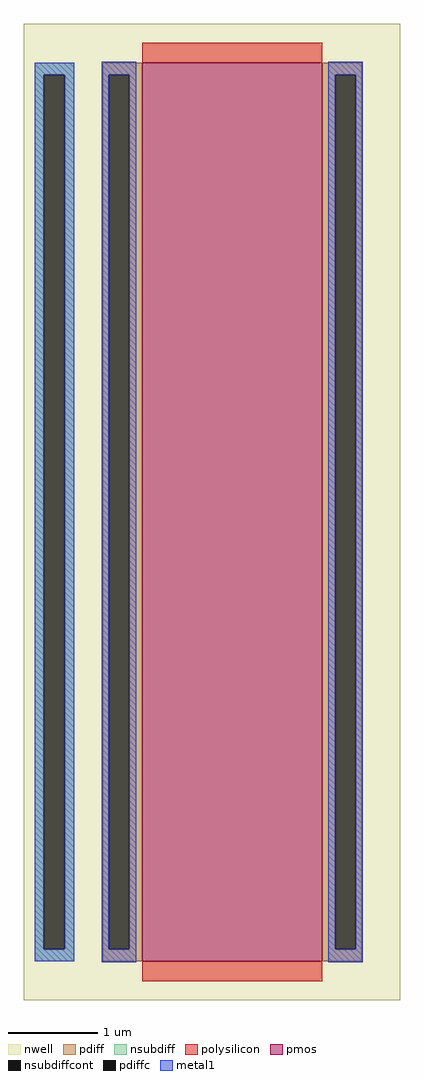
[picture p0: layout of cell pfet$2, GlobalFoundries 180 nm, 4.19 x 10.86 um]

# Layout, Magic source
magic
tech gf180mcuC
magscale 1 10
<< nwell >>
rect -176 -86 662 2086
<< pmos >>
rect 88 0 488 2000
<< pdiff >>
rect 0 1973 88 2000
rect 0 27 13 1973
rect 59 27 88 1973
rect 0 0 88 27
rect 488 1973 576 2000
rect 488 27 517 1973
rect 563 27 576 1973
rect 488 0 576 27
<< pdiffc >>
rect 13 27 59 1973
rect 517 27 563 1973
<< nsubdiff >>
rect -152 1973 -64 2000
rect -152 27 -131 1973
rect -85 27 -64 1973
rect -152 0 -64 27
<< nsubdiffcont >>
rect -131 27 -85 1973
<< polysilicon >>
rect 88 2000 488 2044
rect 88 -44 488 0
<< metal1 >>
rect -152 1973 -64 2000
rect -152 27 -131 1973
rect -85 27 -64 1973
rect -152 0 -64 27
rect -2 1973 74 2002
rect -2 27 13 1973
rect 59 27 74 1973
rect -2 -2 74 27
rect 502 1973 578 2002
rect 502 27 517 1973
rect 563 27 578 1973
rect 502 -2 578 27
<< end >>
